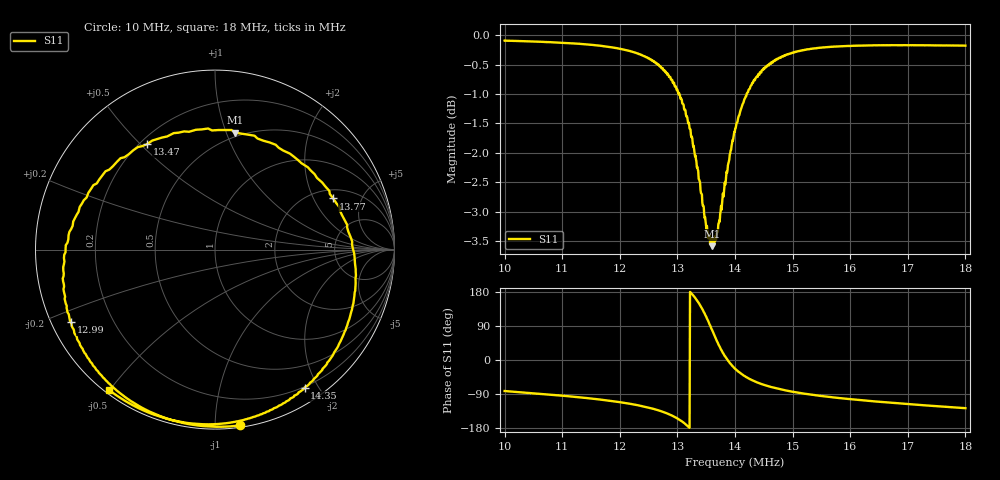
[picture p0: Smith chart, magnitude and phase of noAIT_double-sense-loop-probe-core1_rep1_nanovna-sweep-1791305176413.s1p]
! NanoVNA Web complex sweep
! Processing: unaveraged complex samples; linear segment spacing; no smoothing
# Hz S RI R 50
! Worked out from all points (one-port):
!   1010 points, 10 MHz to 18 MHz, reference 50 ohm
!   lowest |S11| = -3.6 dB at 13.6 MHz (marker M1), VSWR 4.91, Z = 23.2 + j53.8 ohm
!   |S11| at or under -10 dB: nowhere
!   S11 on the Smith chart (normalised r, x): 10 MHz: 0.01, -1.15; 12.99 MHz: 0.06, -0.24; 13.47 MHz: 0.23, +0.52; 13.77 MHz: 2.45, +2.88; 14.35 MHz: 0.19, -1.82; 18 MHz: 0.01, -0.50
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1e7  0.14 -0.9796
1.100698e7  -0.0722 -0.9827
1.156201e7  -0.2152 -0.9568
1.200604e7  -0.355 -0.9067
1.233906e7  -0.4843 -0.8334
1.260864e7  -0.6096 -0.7266
1.280687e7  -0.7129 -0.5961
1.298923e7  -0.8023 -0.4038
1.300509e7  -0.8108 -0.3832
1.316367e7  -0.8455 -0.1145
1.328261e7  -0.7898 0.157
1.337775e7  -0.6443 0.3915
1.34729e7  -0.38 0.5871
1.353633e7  -0.1447 0.6565
1.359977e7  0.1123 0.6523
1.368698e7  0.4386 0.5185
1.37742e7  0.6587 0.2851
1.382178e7  0.7368 0.1372
1.388521e7  0.7773 -0.0383
1.400414e7  0.7629 -0.3353
1.41548e7  0.6609 -0.5801
1.435302e7  0.4989 -0.771
1.463846e7  0.2977 -0.901
1.50032e7  0.1037 -0.9605
1.545515e7  -0.0707 -0.9729
1.600225e7  -0.2258 -0.9525
1.700131e7  -0.4348 -0.8791
1.800036e7  -0.5918 -0.781
